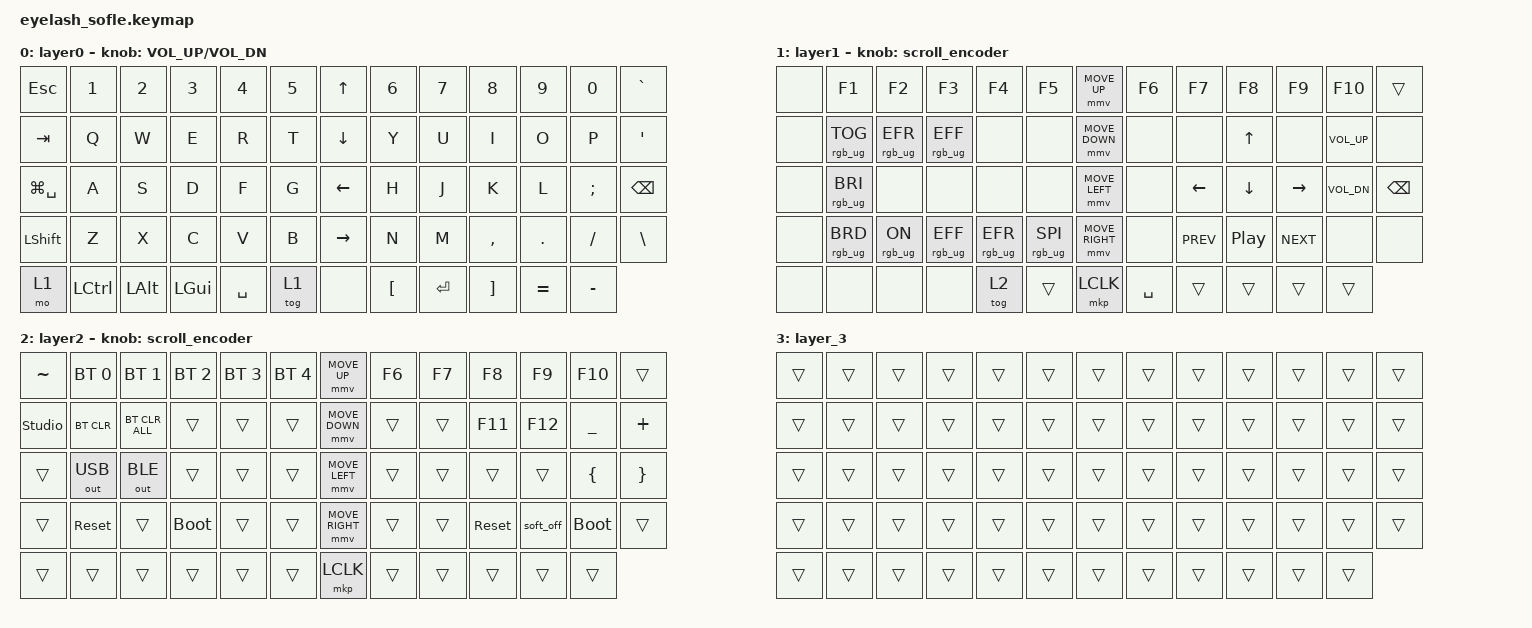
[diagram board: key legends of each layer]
#define ZMK_POINTING_DEFAULT_MOVE_VAL 1200  // 600
#define ZMK_POINTING_DEFAULT_SCRL_VAL 25   // 10

#include <input/processors.dtsi>
#include <zephyr/dt-bindings/input/input-event-codes.h>
#include <behaviors.dtsi>
#include <dt-bindings/zmk/bt.h>
#include <dt-bindings/zmk/ext_power.h>
#include <dt-bindings/zmk/keys.h>
#include <dt-bindings/zmk/backlight.h>
#include <dt-bindings/zmk/pointing.h>
#include <dt-bindings/zmk/rgb.h>
#include <dt-bindings/zmk/outputs.h>

&mmv_input_listener { input-processors = <&zip_xy_scaler 2 1>; };

&msc_input_listener { input-processors = <&zip_scroll_scaler 2 1>; };

&msc {
    acceleration-exponent = <1>;      // 0
    time-to-max-speed-ms = <100>;       // 300
    delay-ms = <0>;                   // 0
};

&mmv {
    time-to-max-speed-ms = <500>;
    acceleration-exponent = <1>;
    trigger-period-ms = <16>;
};


/ {

    scroll_encoder: scroll_encoder {
        compatible = "zmk,behavior-sensor-rotate";
        #sensor-binding-cells = <0>;
        bindings = <&msc SCRL_DOWN>, <&msc SCRL_UP>;
        tap-ms = <100>;
    };

    keymap {
        compatible = "zmk,keymap";

        layer0 {
            bindings = <
&kp ESC   &kp N1     &kp N2        &kp N3        &kp N4  &kp N5       &kp UP_ARROW     &kp N6     &kp N7     &kp N8     &kp N9           &kp N0      &kp GRAVE
&kp TAB     &kp Q      &kp W         &kp E         &kp R   &kp T        &kp DOWN_ARROW   &kp Y      &kp U      &kp I      &kp O            &kp P       &kp SQT
&kp LG(SPACE)    &kp A      &kp S         &kp D         &kp F   &kp G        &kp LEFT_ARROW   &kp H      &kp J      &kp K      &kp L            &kp SEMI     &kp BSPC
&kp LSHFT   &kp Z      &kp X         &kp C         &kp V   &kp B        &kp RIGHT_ARROW  &kp N      &kp M      &kp COMMA  &kp DOT          &kp FSLH    &kp BSLH
&mo 1       &kp LCTRL  &kp LEFT_ALT       &kp LEFT_GUI &kp SPACE   &tog 1       &none            &kp LBKT   &kp ENTER  &kp RBKT   &kp EQUAL        &kp MINUS
            >;

            sensor-bindings = <&inc_dec_kp C_VOLUME_UP C_VOL_DN>;
            display-name = "layer0";
        };

        layer_1 {
            bindings = <
&none   &kp F1           &kp F2          &kp F3           &kp F4           &kp F5             &mmv MOVE_UP     &kp F6          &kp F7           &kp F8      &kp F9     &kp F10           &trans
&none &rgb_ug RGB_TOG  &rgb_ug RGB_EFR  &rgb_ug RGB_EFF &none            &none             &mmv MOVE_DOWN   &none            &none            &kp UP      &none      &kp C_VOL_UP             &none
&none &rgb_ug RGB_BRI        &none          &none           &none           &none           &mmv MOVE_LEFT   &none            &kp LEFT         &kp DOWN    &kp RIGHT  &kp C_VOL_DN            &kp BSPC 
&none &rgb_ug RGB_BRD  &rgb_ug RGB_ON  &rgb_ug RGB_EFF  &rgb_ug RGB_EFR  &rgb_ug RGB_SPI    &mmv MOVE_RIGHT  &none          &kp C_PREV           &kp C_PP           &kp C_NEXT      &none        &none
&none      &none           &none           &none         &tog 2           &trans             &mkp LCLK        &kp SPACE           &trans           &trans      &trans     &trans
            >;

            display-name = "layer1";
            sensor-bindings = <&scroll_encoder>;
        };

        layer_2 {
            bindings = <
&kp TILDE  &bt BT_SEL 0  &bt BT_SEL 1    &bt BT_SEL 2  &bt BT_SEL 3  &bt BT_SEL 4    &mmv MOVE_UP     &kp F6  &kp F7  &kp F8      &kp F9     &kp F10      &trans
&studio_unlock     &bt BT_CLR    &bt BT_CLR_ALL  &trans        &trans        &trans          &mmv MOVE_DOWN   &trans  &trans  &kp F11     &kp F12    &kp UNDER    &kp PLUS
&trans     &out OUT_USB  &out OUT_BLE    &trans        &trans        &trans          &mmv MOVE_LEFT   &trans  &trans  &trans      &trans     &kp LBRC     &kp RBRC
&trans     &sys_reset    &trans          &bootloader   &trans        &trans          &mmv MOVE_RIGHT  &trans  &trans  &sys_reset  &soft_off  &bootloader  &trans
&trans     &trans        &trans          &trans        &trans        &trans          &mkp LCLK        &trans  &trans  &trans      &trans     &trans
            >;
            display-name = "layer2";
            sensor-bindings = <&scroll_encoder>;
        };

        layer_3 {
            bindings = <
&trans  &trans  &trans  &trans  &trans  &trans    &trans  &trans  &trans  &trans  &trans  &trans  &trans
&trans  &trans  &trans  &trans  &trans  &trans    &trans  &trans  &trans  &trans  &trans  &trans  &trans
&trans  &trans  &trans  &trans  &trans  &trans    &trans  &trans  &trans  &trans  &trans  &trans  &trans
&trans  &trans  &trans  &trans  &trans  &trans    &trans  &trans  &trans  &trans  &trans  &trans  &trans
&trans  &trans  &trans  &trans  &trans  &trans    &trans  &trans  &trans  &trans  &trans  &trans
            >;
        };
    };
};
